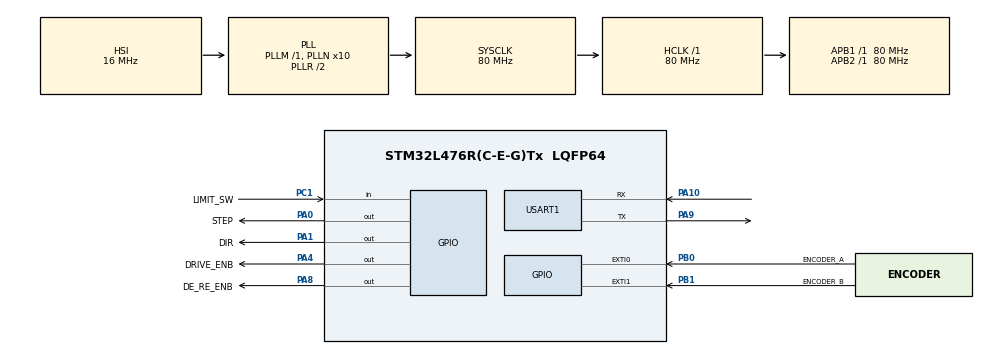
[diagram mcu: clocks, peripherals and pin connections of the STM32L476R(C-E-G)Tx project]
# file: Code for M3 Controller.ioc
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FREERTOS.Tasks01=MotorTask,-1,128,StartMotorTask,Default,NULL,Dynamic,NULL,NULL;EncoderTask,0,128,StartEncoderTask,Default,NULL,Dynamic,NULL,NULL
Mcu.Family=STM32L4
Mcu.Name=STM32L476R(C-E-G)Tx
Mcu.Package=LQFP64
NVIC.EXTI0_IRQn=true\:5\:0\:false\:false\:true\:true\:true\:true\:true
NVIC.EXTI1_IRQn=true\:5\:0\:false\:false\:true\:true\:true\:true\:true
NVIC.PriorityGroup=NVIC_PRIORITYGROUP_4
NVIC.TIM2_IRQn=true\:15\:0\:false\:false\:true\:false\:false\:true\:true
NVIC.TimeBase=TIM2_IRQn
NVIC.TimeBaseIP=TIM2
NVIC.USART1_IRQn=true\:5\:0\:false\:false\:true\:true\:true\:true\:true
PA0.GPIO_Label=STEP
PA0.Signal=GPIO_Output
PA1.GPIO_Label=DIR
PA1.Signal=GPIO_Output
PA10.Mode=Asynchronous
PA10.Signal=USART1_RX
PA4.GPIO_Label=DRIVE_ENB
PA4.Signal=GPIO_Output
PA8.GPIO_Label=DE_RE_ENB
PA8.Signal=GPIO_Output
PA9.Mode=Asynchronous
PA9.Signal=USART1_TX
PB0.GPIO_Label=ENCODER_A
PB0.GPIO_ModeDefaultEXTI=GPIO_MODE_IT_RISING_FALLING
PB0.GPIO_PuPd=GPIO_PULLUP
PB0.Signal=GPXTI0
PB1.GPIO_Label=ENCODER_B
PB1.GPIO_ModeDefaultEXTI=GPIO_MODE_IT_RISING_FALLING
PB1.GPIO_PuPd=GPIO_PULLUP
PB1.Signal=GPXTI1
PC1.GPIO_Label=LIMIT_SW
PC1.GPIO_PuPd=GPIO_PULLUP
PC1.Signal=GPIO_Input
PH0-OSC_IN\ (PH0).Mode=HSE-External-Oscillator
PH0-OSC_IN\ (PH0).Signal=RCC_OSC_IN
PH1-OSC_OUT\ (PH1).Mode=HSE-External-Oscillator
PH1-OSC_OUT\ (PH1).Signal=RCC_OSC_OUT
ProjectManager.HeapSize=0x200
ProjectManager.StackSize=0x400
ProjectManager.TargetToolchain=STM32CubeIDE
RCC.ADCFreq_Value=64000000
RCC.AHBFreq_Value=80000000
RCC.APB1Freq_Value=80000000
RCC.APB1TimFreq_Value=80000000
RCC.APB2Freq_Value=80000000
RCC.APB2TimFreq_Value=80000000
RCC.CortexFreq_Value=80000000
RCC.HCLKFreq_Value=80000000
RCC.HSE_VALUE=8000000
RCC.HSI_VALUE=16000000
RCC.LSE_VALUE=32768
RCC.MSI_VALUE=4000000
RCC.PLLN=10
RCC.PLLSourceVirtual=RCC_PLLSOURCE_HSI
RCC.PREFETCH_ENABLE=1
RCC.SYSCLKFreq_VALUE=80000000
RCC.SYSCLKSource=RCC_SYSCLKSOURCE_PLLCLK
RCC.USBFreq_Value=64000000
RCC.VCOOutputFreq_Value=160000000
TIM1.Prescaler=80-1
USART1.VirtualMode-Asynchronous=VM_ASYNC
VP_FREERTOS_VS_CMSIS_V1.Mode=CMSIS_V1
VP_SYS_VS_tim2.Mode=TIM2
VP_TIM1_VS_ClockSourceINT.Mode=Internal
board=NUCLEO-L476RG

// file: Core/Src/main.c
/* USER CODE BEGIN Header */
/**
  ******************************************************************************
  * @file           : main.c
  * @brief          : Main program body
  ******************************************************************************
  * @attention
  *
  * Copyright (c) 2024 STMicroelectronics.
  * All rights reserved.
  *
  * This software is licensed under terms that can be found in the LICENSE file
  * in the root directory of this software component.
  * If no LICENSE file comes with this software, it is provided AS-IS.
  *
  ******************************************************************************
  */
/* USER CODE END Header */
#include "main.h"
#include "cmsis_os.h"

/* USER CODE BEGIN Includes */
#include "PlebcStepper.h"
#include "modbus_rtu_slave.h"
#include "stdio.h"
#include "stdint.h"
#include "string.h"
#include "stdlib.h"
/* USER CODE END Includes */

/* USER CODE BEGIN PTD */

// MODBUS
int Slave_ID = 3;

//For Encoder
float enc_val_in_1rev = 8000.00;
volatile int lastEncoded = 0;
volatile long encoderValue = 0;
int lastMSB = 0;
int lastLSB = 0;

int prev_input_angle = 0;
int prevstepsToMove=0;

volatile float rpm = 0.00;
volatile float prev_rpm = 0;

float acceleration = 0;
float prev_acceleration = 0;

//Calculating motor steps
int motorSetSteps = 0; // Steps per revolution of the motor
float prev_targetPosition = 0;
int input_angle= 0;
long int updatedEncoderValue;
long int currentPosition = 0;
float targetPosition = 0;
long int positionToMove = 0;
int stepsToMove = 0;

/* USER CODE END PTD */

/* USER CODE BEGIN PD */
/* Pins on Board */
//	PA0 -> STEP/Pulse
//	PA1 -> DIR
//  PA4 -> DRIVE_ENB
//	PB0 -> ENCODER_A
//	PB1 -> ENCODER_B
//	PC1 -> LIMIT_SW
//	PA9 -> USART1_TX
//	PA10 -> USART1_RX
//  PA8 -> DE_RE_Pin (DE,RE Pin of RS485 module)

/* User Instructions */

/* USER CODE END PD */

TIM_HandleTypeDef htim1;

UART_HandleTypeDef huart1;

osThreadId MotorTaskHandle;
osThreadId EncoderTaskHandle;

void SystemClock_Config(void);
static void MX_GPIO_Init(void);
static void MX_TIM1_Init(void);
static void MX_USART1_UART_Init(void);
void StartMotorTask(void const * argument);
void StartEncoderTask(void const * argument);

/* USER CODE BEGIN 0 */

void updateEncoder(void)
{
  int MSB = HAL_GPIO_ReadPin(GPIOB, ENCODER_A_Pin);
  int LSB = HAL_GPIO_ReadPin(GPIOB, ENCODER_B_Pin);

  int encoded = (MSB << 1) | LSB;
  int sum = (lastEncoded << 2) | encoded;

  if (sum == 0b1101 || sum == 0b0100 || sum == 0b0010 || sum == 0b1011)
  {
    encoderValue++;

  }

  if (sum == 0b1110 || sum == 0b0111 || sum == 0b0001 || sum == 0b1000)
  {
    encoderValue--;

  }

  lastEncoded = encoded;
}

void HAL_GPIO_EXTI_Callback(uint16_t GPIO_Pin)
{
  if (GPIO_Pin == ENCODER_A_Pin || GPIO_Pin == ENCODER_B_Pin)
  {
    updateEncoder();

  }
}

// Function to start UART reception
void UART_StartReceive(void)
{
  // Enable reception by setting DE and RE pins high
  HAL_GPIO_WritePin(DE_RE_ENB_GPIO_Port, DE_RE_ENB_Pin, GPIO_PIN_RESET);

  HAL_UARTEx_ReceiveToIdle_IT(&huart1, RxData, RX_BUFFER_SIZE);

}

int _write(int file, char *ptr, int len)
{
	int i = 0;
	for(i=0; i<len; i++)

		ITM_SendChar((*ptr++));

	return len;
}
/* USER CODE END 0 */

int main(void)
{
  /* USER CODE BEGIN 1 */
	rpm 			= Holding_Registers_Database[0];
	acceleration 	= Holding_Registers_Database[1];
	motorSetSteps 	= Holding_Registers_Database[3];
  /* USER CODE END 1 */

  /* MCU Configuration--------------------------------------------------------*/

  /* Reset of all peripherals, Initializes the Flash interface and the Systick. */
  HAL_Init();

  /* Configure the system clock */
  SystemClock_Config();

  /* Initialize all configured peripherals */
  MX_GPIO_Init();
  MX_TIM1_Init();
  MX_USART1_UART_Init();
  /* USER CODE BEGIN 2 */
  HAL_TIM_Base_Start(&htim1);
  UART_StartReceive();
  /* USER CODE END 2 */

  /* Create the thread(s) */
  /* definition and creation of MotorTask */
  osThreadDef(MotorTask, StartMotorTask, osPriorityBelowNormal, 0, 128);
  MotorTaskHandle = osThreadCreate(osThread(MotorTask), NULL);

  /* definition and creation of EncoderTask */
  osThreadDef(EncoderTask, StartEncoderTask, osPriorityNormal, 0, 128);
  EncoderTaskHandle = osThreadCreate(osThread(EncoderTask), NULL);

  /* Start scheduler */
  osKernelStart();
  /* We should never get here as control is now taken by the scheduler */
  /* Infinite loop */
  while (1)
  {

  }
}

void SystemClock_Config(void)
{
  RCC_OscInitTypeDef RCC_OscInitStruct = {0};
  RCC_ClkInitTypeDef RCC_ClkInitStruct = {0};

  /** Configure the main internal regulator output voltage
  */
  if (HAL_PWREx_ControlVoltageScaling(PWR_REGULATOR_VOLTAGE_SCALE1) != HAL_OK)
  {
    Error_Handler();
  }

  /** Initializes the RCC Oscillators according to the specified parameters
  * in the RCC_OscInitTypeDef structure.
  */
  RCC_OscInitStruct.OscillatorType = RCC_OSCILLATORTYPE_HSI;
  RCC_OscInitStruct.HSIState = RCC_HSI_ON;
  RCC_OscInitStruct.HSICalibrationValue = RCC_HSICALIBRATION_DEFAULT;
  RCC_OscInitStruct.PLL.PLLState = RCC_PLL_ON;
  RCC_OscInitStruct.PLL.PLLSource = RCC_PLLSOURCE_HSI;
  RCC_OscInitStruct.PLL.PLLM = 1;
  RCC_OscInitStruct.PLL.PLLN = 10;
  RCC_OscInitStruct.PLL.PLLP = RCC_PLLP_DIV7;
  RCC_OscInitStruct.PLL.PLLQ = RCC_PLLQ_DIV2;
  RCC_OscInitStruct.PLL.PLLR = RCC_PLLR_DIV2;
  if (HAL_RCC_OscConfig(&RCC_OscInitStruct) != HAL_OK)
  {
    Error_Handler();
  }

  /** Initializes the CPU, AHB and APB buses clocks
  */
  RCC_ClkInitStruct.ClockType = RCC_CLOCKTYPE_HCLK|RCC_CLOCKTYPE_SYSCLK
                              |RCC_CLOCKTYPE_PCLK1|RCC_CLOCKTYPE_PCLK2;
  RCC_ClkInitStruct.SYSCLKSource = RCC_SYSCLKSOURCE_PLLCLK;
  RCC_ClkInitStruct.AHBCLKDivider = RCC_SYSCLK_DIV1;
  RCC_ClkInitStruct.APB1CLKDivider = RCC_HCLK_DIV1;
  RCC_ClkInitStruct.APB2CLKDivider = RCC_HCLK_DIV1;

  if (HAL_RCC_ClockConfig(&RCC_ClkInitStruct, FLASH_LATENCY_4) != HAL_OK)
  {
    Error_Handler();
  }
}

static void MX_TIM1_Init(void)
{

  TIM_ClockConfigTypeDef sClockSourceConfig = {0};
  TIM_MasterConfigTypeDef sMasterConfig = {0};

  htim1.Instance = TIM1;
  htim1.Init.Prescaler = 80-1;
  htim1.Init.CounterMode = TIM_COUNTERMODE_UP;
  htim1.Init.Period = 65535;
  htim1.Init.ClockDivision = TIM_CLOCKDIVISION_DIV1;
  htim1.Init.RepetitionCounter = 0;
  htim1.Init.AutoReloadPreload = TIM_AUTORELOAD_PRELOAD_DISABLE;
  if (HAL_TIM_Base_Init(&htim1) != HAL_OK)
  {
    Error_Handler();
  }
  sClockSourceConfig.ClockSource = TIM_CLOCKSOURCE_INTERNAL;
  if (HAL_TIM_ConfigClockSource(&htim1, &sClockSourceConfig) != HAL_OK)
  {
    Error_Handler();
  }
  sMasterConfig.MasterOutputTrigger = TIM_TRGO_RESET;
  sMasterConfig.MasterOutputTrigger2 = TIM_TRGO2_RESET;
  sMasterConfig.MasterSlaveMode = TIM_MASTERSLAVEMODE_DISABLE;
  if (HAL_TIMEx_MasterConfigSynchronization(&htim1, &sMasterConfig) != HAL_OK)
  {
    Error_Handler();
  }

}

static void MX_USART1_UART_Init(void)
{

  huart1.Instance = USART1;
  huart1.Init.BaudRate = 115200;
  huart1.Init.WordLength = UART_WORDLENGTH_8B;
  huart1.Init.StopBits = UART_STOPBITS_1;
  huart1.Init.Parity = UART_PARITY_NONE;
  huart1.Init.Mode = UART_MODE_TX_RX;
  huart1.Init.HwFlowCtl = UART_HWCONTROL_NONE;
  huart1.Init.OverSampling = UART_OVERSAMPLING_16;
  huart1.Init.OneBitSampling = UART_ONE_BIT_SAMPLE_DISABLE;
  huart1.AdvancedInit.AdvFeatureInit = UART_ADVFEATURE_NO_INIT;
  if (HAL_UART_Init(&huart1) != HAL_OK)
  {
    Error_Handler();
  }

}

static void MX_GPIO_Init(void)
{
  GPIO_InitTypeDef GPIO_InitStruct = {0};

  /* GPIO Ports Clock Enable */
  __HAL_RCC_GPIOH_CLK_ENABLE();
  __HAL_RCC_GPIOC_CLK_ENABLE();
  __HAL_RCC_GPIOA_CLK_ENABLE();
  __HAL_RCC_GPIOB_CLK_ENABLE();

  /*Configure GPIO pin Output Level */
  HAL_GPIO_WritePin(GPIOA, STEP_Pin|DIR_Pin|DRIVE_ENB_Pin|DE_RE_ENB_Pin, GPIO_PIN_RESET);

  /*Configure GPIO pin : LIMIT_SW_Pin */
  GPIO_InitStruct.Pin = LIMIT_SW_Pin;
  GPIO_InitStruct.Mode = GPIO_MODE_INPUT;
  GPIO_InitStruct.Pull = GPIO_PULLUP;
  HAL_GPIO_Init(LIMIT_SW_GPIO_Port, &GPIO_InitStruct);

  /*Configure GPIO pins : STEP_Pin DIR_Pin DRIVE_ENB_Pin DE_RE_ENB_Pin */
  GPIO_InitStruct.Pin = STEP_Pin|DIR_Pin|DRIVE_ENB_Pin|DE_RE_ENB_Pin;
  GPIO_InitStruct.Mode = GPIO_MODE_OUTPUT_PP;
  GPIO_InitStruct.Pull = GPIO_NOPULL;
  GPIO_InitStruct.Speed = GPIO_SPEED_FREQ_LOW;
  HAL_GPIO_Init(GPIOA, &GPIO_InitStruct);

  /*Configure GPIO pins : ENCODER_A_Pin ENCODER_B_Pin */
  GPIO_InitStruct.Pin = ENCODER_A_Pin|ENCODER_B_Pin;
  GPIO_InitStruct.Mode = GPIO_MODE_IT_RISING_FALLING;
  GPIO_InitStruct.Pull = GPIO_PULLUP;
  HAL_GPIO_Init(GPIOB, &GPIO_InitStruct);

  /* EXTI interrupt init*/
  HAL_NVIC_SetPriority(EXTI0_IRQn, 5, 0);
  HAL_NVIC_EnableIRQ(EXTI0_IRQn);

  HAL_NVIC_SetPriority(EXTI1_IRQn, 5, 0);
  HAL_NVIC_EnableIRQ(EXTI1_IRQn);

}

void StartMotorTask(void const * argument)
{
  /* USER CODE BEGIN 5 */
	// Define motor configurations
	MotorConfig motor1 = {GPIOA, GPIO_PIN_1, GPIOA, GPIO_PIN_0};
  /* Infinite loop */
  for(;;)
  {
	  //Reading RMP value from RPM holding register
	  rpm = Holding_Registers_Database[0];;
	  if(rpm != prev_rpm)
	  {
		  setRPM(rpm, motorSetSteps); // (RPM, Steps)
		  prev_rpm = rpm;
	  }

	  //Reading acceleration value from acceleration holding register
	  acceleration = Holding_Registers_Database[1];
	  if(acceleration != prev_acceleration)
	  {
		   setAcceleration(acceleration);
		   prev_acceleration = acceleration;
	  }

	  // Disable interrupts and read the encoder value
	  //__disable_irq();
	  currentPosition = encoderValue; // Read the latest encoder value
	  //__enable_irq();

	  input_angle = Holding_Registers_Database[4];

	// Calculate target position with floating-point division
	targetPosition = input_angle * (enc_val_in_1rev/360); // in encoder value

	// Calculate position to move
	positionToMove = (long int)targetPosition - currentPosition; // in encoder value

	if (abs(positionToMove) > 12) {   //tolerance = 12

		// Calculate steps to move
		stepsToMove = positionToMove * (motorSetSteps / (float)enc_val_in_1rev);

		if ((prev_input_angle != input_angle) || (prevstepsToMove != stepsToMove))
		{
			//Enable Drive
//	    	HAL_GPIO_WritePin(GPIOA, DRIVE_ENB_Pin, GPIO_PIN_RESET);

			// Move motor
			motorMove(&motor1, stepsToMove);
		}

		if ((prev_input_angle == input_angle) || (prevstepsToMove == stepsToMove))
		{
			//Disable Drive
//			HAL_GPIO_WritePin(GPIOA, DRIVE_ENB_Pin, GPIO_PIN_SET);
		}
	}

	prev_input_angle = input_angle;
	prevstepsToMove = stepsToMove;
    osDelay(10);
  }

  /* USER CODE END 5 */
}

void StartEncoderTask(void const * argument)
{
  /* USER CODE BEGIN StartEncoderTask */
  /* Infinite loop */
  for(;;)
  {
	Input_Registers_Database[0] = encoderValue; // Store the encoder value in the first input register
	int angle_covered 			= encoderValue * (360/enc_val_in_1rev);
	Input_Registers_Database[1] = angle_covered; // Store the encoder value in the first input register

    osDelay(10);
  }
  /* USER CODE END StartEncoderTask */
}

void HAL_TIM_PeriodElapsedCallback(TIM_HandleTypeDef *htim)
{
  if (htim->Instance == TIM2) {
    HAL_IncTick();
  }
}

void Error_Handler(void)
{
  __disable_irq();
  while (1)
  {
  }
}
